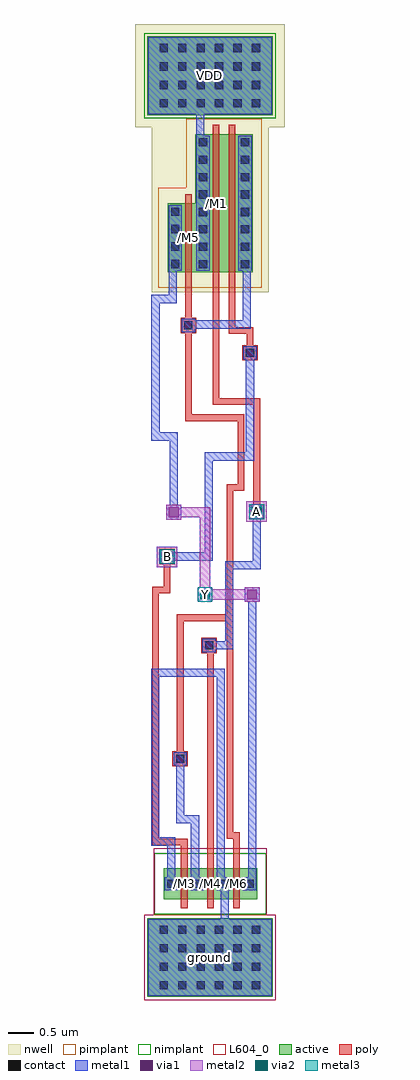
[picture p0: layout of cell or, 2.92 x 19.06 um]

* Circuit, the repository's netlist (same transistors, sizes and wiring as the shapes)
* LVS netlist generated with ICnet by 'egrvlsi07' on Thu Apr  4 2019 at 16:39:41

*
* Globals.
*
.global ground VDD

*
* Component pathname : $VLSI/Project/or
*
.subckt or  Y A B

        M6 Y N$22 ground ground nmos l=0.13u w=0.6u m=1
        M5 Y N$22 VDD VDD pmos l=0.13u w=1.35u m=1
        M4 N$22 A ground ground nmos l=0.13u w=0.6u m=1
        M3 N$22 B ground ground nmos l=0.13u w=0.6u m=1
        M2 N$22 B N$13 VDD pmos l=0.13u w=2.7u m=1
        M1 N$13 A VDD VDD pmos l=0.13u w=2.7u m=1
.ends or

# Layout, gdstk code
import gdstk
lib = gdstk.Library(unit=1e-6, precision=1e-09)
def R(c, l, rs):  # rectangles x0, y0, x1, y1
    for r in rs: c.add(gdstk.rectangle(r[:2], r[2:], *l))
def A(c, l, x, y, w, h, nx, ny, dx, dy):  # array of equal rectangles
    R(c, l, [(x+i*dx, y+j*dy, x+i*dx+w, y+j*dy+h) for i in range(nx) for j in range(ny)])
def P(c, l, *ps):  # polygons
    for p in ps: c.add(gdstk.Polygon(p, *l))
nwell = (3, 0)
active = (6, 0)
poly = (17, 0)
pimplant = (25, 0)
nimplant = (26, 0)
contact = (30, 0)
metal1 = (31, 0)
metal2 = (32, 0)
metal3 = (33, 0)
via1 = (51, 0)
via2 = (52, 0)
L604_0 = (604, 0)

m1m2 = lib.new_cell('M1M2')
R(m1m2, metal1, [(-0.145,-0.145,0.145,0.145)])
R(m1m2, metal2, [(-0.145,-0.145,0.145,0.145)])
R(m1m2, via1, [(-0.095,-0.095,0.095,0.095)])

m2m3 = lib.new_cell('M2M3')
R(m2m3, metal2, [(-0.145,-0.145,0.145,0.145)])
R(m2m3, metal3, [(-0.145,-0.145,0.145,0.145)])
R(m2m3, via2, [(-0.095,-0.095,0.095,0.095)])

poly_m1 = lib.new_cell('POLY_M1')
R(poly_m1, poly, [(-0.15,-0.15,0.15,0.15)])
R(poly_m1, contact, [(-0.08,-0.08,0.08,0.08)])
R(poly_m1, metal1, [(-0.13,-0.13,0.13,0.13)])

c_or = lib.new_cell('or')
R(c_or, nwell, [(24.35,98.125,26.63,101.605), (24.025,101.345,26.95,103.365)])
R(c_or, active, [(24.265,84.365,26.71,85.905), (24.58,86.275,26.41,86.875), (24.265,101.585,26.71,103.125)])
P(c_or, active, [(26.32,98.515),(26.32,101.215),(25.2,101.215),(25.2,99.865),(24.66,99.865),(24.66,98.515)])
A(c_or, poly, 24.92, 86.095, 0.13, 0.18, 3, 2, 0.51, 0.78)
A(c_or, poly, 24.92, 86.275, 0.13, 0.6, 3, 1, 0.51, 0)
R(c_or, poly, [(24.58,92.9,24.715,93.03), (25,97.415,25.13,98.465), (25,98.335,25.13,98.515), (25.54,98.335,25.67,98.515), (25.85,98.335,25.98,98.515), (25,98.515,25.13,99.865), (25.54,98.515,25.67,101.215), (25.85,98.515,25.98,101.215), (25,99.865,25.13,100.045), (25.54,101.215,25.67,101.395), (25.85,101.215,25.98,101.395)])
P(c_or, poly, [(25.54,95.93),(26.335,95.93),(26.335,93.775),(26.465,93.775),(26.465,96.06),(25.67,96.06),(25.67,98.465),(25.54,98.465)],
  [(25.405,91.165),(25.43,91.165),(25.43,86.925),(25.56,86.925),(25.56,91.295),(25.405,91.295)],
  [(25.85,97.315),(26.205,97.315),(26.205,96.88),(26.335,96.88),(26.335,97.445),(25.98,97.445),(25.98,98.465),(25.85,98.465)],
  [(24.84,88.95),(24.97,88.95),(24.97,91.705),(25.94,91.705),(25.94,91.835),(24.84,91.835)],
  [(24.355,87.325),(24.92,87.325),(24.92,86.925),(25.05,86.925),(25.05,87.455),(24.485,87.455),(24.485,92.245),(24.71,92.245),(24.71,93.03),(24.58,93.03),(24.58,92.375),(24.355,92.375)],
  [(25.81,87.455),(25.94,87.455),(25.94,86.925),(26.07,86.925),(26.07,87.585),(25.94,87.585),(25.94,91.835),(25.81,91.835)],
  [(25,95.61),(26.025,95.61),(26.025,94.38),(25.81,94.38),(25.81,91.705),(25.94,91.705),(25.94,94.25),(26.155,94.25),(26.155,95.74),(25.13,95.74),(25.13,97.545),(25,97.545)])
R(c_or, pimplant, [(24.205,84.305,26.77,85.965)])
P(c_or, pimplant, [(26.5,98.215),(26.5,101.515),(25.02,101.515),(25.02,100.165),(24.48,100.165),(24.48,98.215)])
R(c_or, nimplant, [(24.4,85.975,26.59,87.175), (24.205,101.525,26.77,103.185)])
A(c_or, contact, 24.505, 84.515, 0.16, 0.16, 6, 4, 0.36, 0.36)
A(c_or, contact, 24.65, 86.495, 0.16, 0.16, 4, 1, 0.51, 0)
A(c_or, contact, 25.27, 98.595, 0.16, 0.16, 1, 8, 0, 0.34)
A(c_or, contact, 26.09, 98.595, 0.16, 0.16, 1, 8, 0, 0.34)
A(c_or, contact, 24.73, 98.6, 0.16, 0.16, 1, 4, 0, 0.34)
A(c_or, contact, 24.505, 101.735, 0.16, 0.16, 6, 4, 0.36, 0.36)
A(c_or, metal1, 24.6, 86.445, 0.26, 0.26, 4, 1, 0.51, 0)
R(c_or, metal1, [(24.285,84.385,26.69,85.885), (24.285,84.385,26.69,85.885), (25.695,85.725,25.855,86.605), (26.23,86.545,26.39,92.305), (25.22,98.545,25.48,101.185), (26.04,98.545,26.3,101.185), (24.68,98.55,24.94,99.83), (25.22,101.025,25.38,101.765), (24.285,101.605,26.69,103.105), (24.285,101.605,26.69,103.105)])
P(c_or, metal1, [(24.34,87.32),(24.65,87.32),(24.65,86.545),(24.81,86.545),(24.81,87.48),(24.5,87.48),(24.5,90.615),(25.62,90.615),(25.62,86.545),(25.78,86.545),(25.78,90.775),(24.34,90.775)],
  [(25.39,91.15),(25.945,91.15),(25.945,92.715),(26.48,92.715),(26.48,93.92),(26.32,93.92),(26.32,92.875),(25.785,92.875),(25.785,91.31),(25.39,91.31)],
  [(24.345,95.23),(24.7,95.23),(24.7,93.75),(24.86,93.75),(24.86,95.39),(24.505,95.39),(24.505,97.915),(24.84,97.915),(24.84,98.71),(24.68,98.71),(24.68,98.075),(24.345,98.075)],
  [(24.985,97.4),(25.145,97.4),(25.145,97.415),(26.285,97.415),(26.285,98.705),(26.125,98.705),(26.125,97.575),(24.985,97.575)],
  [(24.57,92.885),(25.545,92.885),(25.545,94.84),(26.35,94.84),(26.35,97.025),(26.19,97.025),(26.19,95),(25.385,95),(25.385,93.045),(24.57,93.045)],
  [(24.825,87.755),(25.115,87.755),(25.115,86.545),(25.275,86.545),(25.275,87.915),(24.985,87.915),(24.985,89.095),(24.825,89.095)])
R(c_or, metal2, [(24.445,92.755,24.845,93.155), (26.2,93.645,26.6,94.045)])
P(c_or, metal2, [(24.68,93.73),(25.29,93.73),(25.29,92.125),(26.41,92.125),(26.41,92.325),(25.49,92.325),(25.49,93.93),(24.68,93.93)])
R(c_or, metal3, [(25.29,92.125,25.49,92.325), (24.55,92.865,24.75,93.065), (26.3,93.74,26.5,93.94)])
R(c_or, L604_0, [(24.205,84.305,26.77,85.965), (24.39,85.885,26.6,87.265)])
c_or.add(gdstk.Reference(m1m2, (26.31,92.225)))
c_or.add(gdstk.Reference(m2m3, (25.39,92.225)))
c_or.add(gdstk.Reference(m1m2, (24.78,93.83)))
c_or.add(gdstk.Reference(poly_m1, (26.4,93.84)))
c_or.add(gdstk.Reference(m1m2, (26.4,93.84)))
c_or.add(gdstk.Reference(m2m3, (26.4,93.84)))
c_or.add(gdstk.Reference(poly_m1, (25.47,91.23)))
c_or.add(gdstk.Reference(poly_m1, (26.27,96.945)))
c_or.add(gdstk.Reference(m1m2, (24.65,92.965)))
c_or.add(gdstk.Reference(m2m3, (24.65,92.965)))
c_or.add(gdstk.Reference(poly_m1, (25.065,97.48)))
c_or.add(gdstk.Reference(poly_m1, (24.645,92.965)))
c_or.add(gdstk.Reference(m1m2, (24.645,92.965)))
c_or.add(gdstk.Reference(poly_m1, (24.905,89.015)))
c_or.add(gdstk.Label('/M5', (25.065,99.19), layer=17, texttype=0))
c_or.add(gdstk.Label('/M1', (25.605,99.865), layer=17, texttype=0))
c_or.add(gdstk.Label('/M2', (25.915,99.865), layer=17, texttype=0))
c_or.add(gdstk.Label('/M3', (24.985,86.575), layer=17, texttype=0))
c_or.add(gdstk.Label('/M4', (25.495,86.575), layer=17, texttype=0))
c_or.add(gdstk.Label('/M6', (26.005,86.575), layer=17, texttype=0))
c_or.add(gdstk.Label('A', (26.4,93.84), layer=133, texttype=0))
c_or.add(gdstk.Label('B', (24.65,92.965), layer=133, texttype=0))
c_or.add(gdstk.Label('Y', (25.39,92.225), layer=133, texttype=0))
c_or.add(gdstk.Label('VDD', (25.487,102.355), layer=131, texttype=0))
c_or.add(gdstk.Label('ground', (25.487,85.135), layer=131, texttype=0))

lib.write_gds('or.gds')
